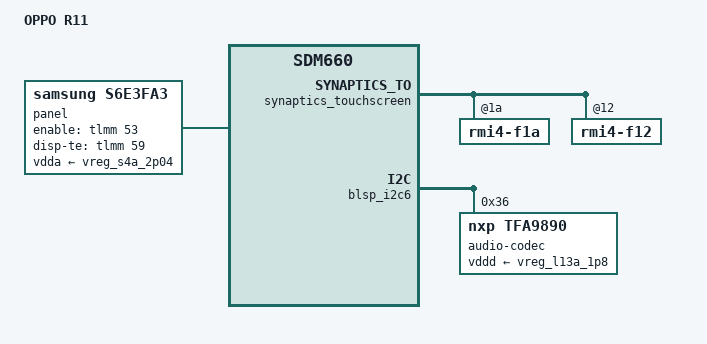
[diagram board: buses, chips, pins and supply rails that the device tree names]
// SPDX-License-Identifier: GPL-2.0-only
/*
* Copyright (c) 2025, XiKoTaSu <3329989998@qq.com>
*/

/dts-v1/;

#include "sdm660-oppo-common.dtsi"

/ {
	model = "OPPO R11";
	compatible = "oppo,r11", "qcom,sdm660";
	chassis-type = "handset";

	aliases {
		serial0 = &blsp1_uart2;
        serial1 = &blsp2_uart1; /* Bluetooth UART */
	};

	chosen {
		#address-cells = <2>;
		#size-cells = <2>;
		ranges;

		/* stdout-path = "serial0:115200n8"; */

		framebuffer0: framebuffer@9d400000 {
			compatible = "simple-framebuffer";
			reg = <0 0x9d400000 0 0x23000000>;
			width = <1080>;
			height = <1920>;
			stride = <(1080 * 4)>;
			format = "a8r8g8b8";
		};
	};
};

&panel {
	compatible = "samsung,s6e3fa3";
	vdda-supply = <&vreg_s4a_2p04>;

	enable-gpios = <&tlmm 53 0>;
	disp-te-gpios = <&tlmm 59 0>;
};

&synaptics_touchscreen {
	rmi4-f1a@1a {
		reg = <0x1a>;
		linux,keycodes = <KEY_BACK KEY_HOME KEY_MENU>;
	};
	rmi4-f12@12 {
		reg = <0x12>;
		syna,sensor-type = <1>;
		syna,rezero-wait-ms = <200>;
		syna,clip-x-low = <0>;
		syna,clip-x-high = <1080>;
	    syna,clip-y-low = <0>;
		syna,clip-y-high = <1920>;
	};
};

&blsp_i2c6 {
    status = "okay";
    audio-codec@36 {
        compatible = "nxp,tfa9890";
        reg = <0x36>;
        sound-name-prefix = "Speaker Right";
        vddd-supply = <&vreg_l13a_1p8>;
        #sound-dai-cells = <0>;
    };
};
